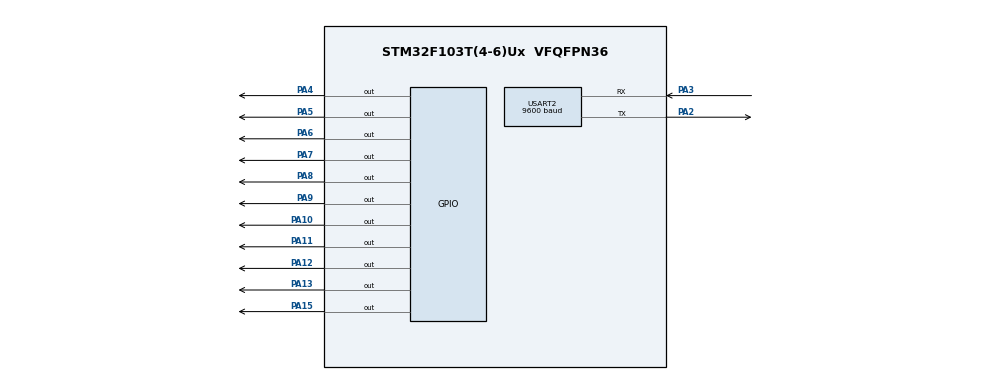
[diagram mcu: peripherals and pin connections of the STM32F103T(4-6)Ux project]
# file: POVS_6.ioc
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Mcu.Family=STM32F1
Mcu.Name=STM32F103T(4-6)Ux
Mcu.Package=VFQFPN36
NVIC.PriorityGroup=NVIC_PRIORITYGROUP_4
NVIC.TIM1_UP_IRQn=true\:0\:0\:false\:false\:true\:true\:true
NVIC.USART2_IRQn=true\:0\:0\:false\:false\:true\:true\:true
PA10.Signal=GPIO_Output
PA11.Signal=GPIO_Output
PA12.Signal=GPIO_Output
PA13.Signal=GPIO_Output
PA15.Signal=GPIO_Output
PA2.Mode=Asynchronous
PA2.Signal=USART2_TX
PA3.Mode=Asynchronous
PA3.Signal=USART2_RX
PA4.Signal=GPIO_Output
PA5.Signal=GPIO_Output
PA6.Signal=GPIO_Output
PA7.Signal=GPIO_Output
PA8.Signal=GPIO_Output
PA9.Signal=GPIO_Output
ProjectManager.HeapSize=0x200
ProjectManager.StackSize=0x400
ProjectManager.TargetToolchain=MDK-ARM V5
RCC.APB1Freq_Value=8000000
RCC.APB2Freq_Value=8000000
TIM1.Period=100
TIM1.Prescaler=7999
USART2.BaudRate=9600
USART2.VirtualMode=VM_ASYNC
VP_SYS_VS_ND.Mode=No_Debug
VP_TIM1_VS_ClockSourceINT.Mode=Internal
board=custom

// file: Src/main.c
/* USER CODE BEGIN Header */
/**
  ******************************************************************************
  * @file           : main.c
  * @brief          : Main program body
  ******************************************************************************
  * @attention
  *
  * <h2><center>&copy; Copyright (c) 2019 STMicroelectronics.
  * All rights reserved.</center></h2>
  *
  * This software component is licensed by ST under BSD 3-Clause license,
  * the "License"; You may not use this file except in compliance with the
  * License. You may obtain a copy of the License at:
  *                        opensource.org/licenses/BSD-3-Clause
  *
  ******************************************************************************
  */
/* USER CODE END Header */

#include "main.h"

/* USER CODE BEGIN Includes */
#include "stdio.h"
#include "stdlib.h"
#include "string.h"
#include "STM_MY_LCD16X2.h"
/* USER CODE END Includes */

/* USER CODE BEGIN PTD */
#ifdef __GNUC__
    #define PUTCHAR_PROTOTYPE int __io_putchar(int ch)
	#else
	  #define PUTCHAR_PROTOTYPE int fputc(int ch, FILE *f)
#endif
/* USER CODE END PTD */

TIM_HandleTypeDef htim1;

UART_HandleTypeDef huart2;

/* USER CODE BEGIN PV */
const int VK_ENTER_CODE = 13;
const int VK_BACKSPASE_CODE = 8;

char enteredCommand[32];
char status[6];
int charPosition = 0;

struct CommandEvent
{
	char command[32];
	void (*event) (void);
} commandEvents[5];
/* USER CODE END PV */

void SystemClock_Config(void);
static void MX_GPIO_Init(void);
static void MX_USART2_UART_Init(void);
static void MX_TIM1_Init(void);
/* USER CODE BEGIN PFP */
void TranslateCommand(void);
void ClearCommand(void);
void PA15_on(void);
void PA15_off(void);
void WriteCommandAndStatus(void);
/* USER CODE END PFP */

/* USER CODE BEGIN 0 */
void HAL_TIM_PeriodElapsedCallback(TIM_HandleTypeDef *htim)
{
  HAL_GPIO_TogglePin(GPIOA, GPIO_PIN_15);
}

void USART2_IRQHandler(void)
{
	char receivedSymbol;
  if((USART2->SR & USART_SR_RXNE) != 0)
  {
		receivedSymbol = USART2->DR;
		switch ((int)receivedSymbol)
		{
			case VK_ENTER_CODE:
				TranslateCommand();
				printf("%s\n\r", status);
				WriteCommandAndStatus();
				ClearCommand();
				break;
			case VK_BACKSPASE_CODE:
				if (charPosition > 0)
				{
					enteredCommand[--charPosition] = NULL;
				}
				break;
			default:
				enteredCommand[charPosition++] = receivedSymbol;
				break;
		}
	}
}

void ClearCommand(void)
{
	for (int i = 0; i < 32; i++)
	{
		enteredCommand[i] = NULL;
	}
	charPosition = 0;
}

void TranslateCommand(void)
{
	if (strcmp(enteredCommand, "") != 0)
	{
		for (int i = 0; i < 5; i++)
		{
			if (strcmp(enteredCommand, commandEvents[i].command) == 0)
			{
				commandEvents[i].event();
				strcpy(status, "OK");
				break; //if command is correct, then break from cycle
			}
			else
			{
				strcpy(status, "ERROR");
			}
		}
	}
	else
	{
		strcpy(status, "");
	}
}

void PA15_on(void)
{
	HAL_GPIO_WritePin(GPIOA, GPIO_PIN_15, GPIO_PIN_SET);
}

void PA15_off(void)
{
	HAL_GPIO_WritePin(GPIOA, GPIO_PIN_15, GPIO_PIN_RESET);
}

void PA15_blink_on(void)
{
	HAL_TIM_Base_Start(&htim1);
}

void PA15_blink_off(void)
{
	HAL_TIM_Base_Stop(&htim1);
}

void InitializeCommands(void)
{
	strcpy(commandEvents[0].command, "PA15_on");
	commandEvents[0].event = PA15_on;
	strcpy(commandEvents[1].command, "PA15_off");
	commandEvents[1].event = PA15_off;
	strcpy(commandEvents[2].command, "PA15_blink_on");
	commandEvents[2].event = PA15_blink_on;
	strcpy(commandEvents[3].command, "PA15_blink_off");
	commandEvents[3].event = PA15_blink_off;
}

void WriteCommandAndStatus(void)
{
	LCD1602_setCursor(1, 1);
	LCD1602_print("                ");
	LCD1602_setCursor(1, 1);
	LCD1602_print(enteredCommand);
	LCD1602_setCursor(2, 1);
	LCD1602_print("                ");
	LCD1602_setCursor(2, 1);
	LCD1602_print(status);
}
/* USER CODE END 0 */

int main(void)
{

  /* MCU Configuration--------------------------------------------------------*/

  /* Reset of all peripherals, Initializes the Flash interface and the Systick. */
  HAL_Init();

  /* Configure the system clock */
  SystemClock_Config();

  /* Initialize all configured peripherals */
  MX_GPIO_Init();
  MX_USART2_UART_Init();
  MX_TIM1_Init();
  /* USER CODE BEGIN 2 */
  NVIC_EnableIRQ(USART2_IRQn);
	USART2->CR1  |= USART_CR1_TCIE;
  USART2->CR1  |= USART_CR1_RXNEIE;

	HAL_TIM_Base_Start_IT(&htim1);
	HAL_TIM_Base_Stop(&htim1);

  LCD1602_Begin8BIT(GPIOA, GPIO_PIN_4, GPIO_PIN_5, GPIOA, GPIO_PIN_6, GPIO_PIN_7, GPIO_PIN_8, GPIO_PIN_9, GPIOA, GPIO_PIN_10, GPIO_PIN_11, GPIO_PIN_12, GPIO_PIN_13);
  InitializeCommands();
  /* USER CODE END 2 */

  /* Infinite loop */
  while (1)
  {

  }
}

void SystemClock_Config(void)
{
  RCC_OscInitTypeDef RCC_OscInitStruct = {0};
  RCC_ClkInitTypeDef RCC_ClkInitStruct = {0};

  /** Initializes the CPU, AHB and APB busses clocks
  */
  RCC_OscInitStruct.OscillatorType = RCC_OSCILLATORTYPE_HSI;
  RCC_OscInitStruct.HSIState = RCC_HSI_ON;
  RCC_OscInitStruct.HSICalibrationValue = RCC_HSICALIBRATION_DEFAULT;
  RCC_OscInitStruct.PLL.PLLState = RCC_PLL_NONE;
  if (HAL_RCC_OscConfig(&RCC_OscInitStruct) != HAL_OK)
  {
    Error_Handler();
  }
  /** Initializes the CPU, AHB and APB busses clocks
  */
  RCC_ClkInitStruct.ClockType = RCC_CLOCKTYPE_HCLK|RCC_CLOCKTYPE_SYSCLK
                              |RCC_CLOCKTYPE_PCLK1|RCC_CLOCKTYPE_PCLK2;
  RCC_ClkInitStruct.SYSCLKSource = RCC_SYSCLKSOURCE_HSI;
  RCC_ClkInitStruct.AHBCLKDivider = RCC_SYSCLK_DIV1;
  RCC_ClkInitStruct.APB1CLKDivider = RCC_HCLK_DIV1;
  RCC_ClkInitStruct.APB2CLKDivider = RCC_HCLK_DIV1;

  if (HAL_RCC_ClockConfig(&RCC_ClkInitStruct, FLASH_LATENCY_0) != HAL_OK)
  {
    Error_Handler();
  }
}

static void MX_TIM1_Init(void)
{

  TIM_ClockConfigTypeDef sClockSourceConfig = {0};
  TIM_MasterConfigTypeDef sMasterConfig = {0};

  htim1.Instance = TIM1;
  htim1.Init.Prescaler = 7999;
  htim1.Init.CounterMode = TIM_COUNTERMODE_UP;
  htim1.Init.Period = 100;
  htim1.Init.ClockDivision = TIM_CLOCKDIVISION_DIV1;
  htim1.Init.RepetitionCounter = 0;
  htim1.Init.AutoReloadPreload = TIM_AUTORELOAD_PRELOAD_DISABLE;
  if (HAL_TIM_Base_Init(&htim1) != HAL_OK)
  {
    Error_Handler();
  }
  sClockSourceConfig.ClockSource = TIM_CLOCKSOURCE_INTERNAL;
  if (HAL_TIM_ConfigClockSource(&htim1, &sClockSourceConfig) != HAL_OK)
  {
    Error_Handler();
  }
  sMasterConfig.MasterOutputTrigger = TIM_TRGO_RESET;
  sMasterConfig.MasterSlaveMode = TIM_MASTERSLAVEMODE_DISABLE;
  if (HAL_TIMEx_MasterConfigSynchronization(&htim1, &sMasterConfig) != HAL_OK)
  {
    Error_Handler();
  }

}

static void MX_USART2_UART_Init(void)
{

  huart2.Instance = USART2;
  huart2.Init.BaudRate = 9600;
  huart2.Init.WordLength = UART_WORDLENGTH_8B;
  huart2.Init.StopBits = UART_STOPBITS_1;
  huart2.Init.Parity = UART_PARITY_NONE;
  huart2.Init.Mode = UART_MODE_TX_RX;
  huart2.Init.HwFlowCtl = UART_HWCONTROL_NONE;
  huart2.Init.OverSampling = UART_OVERSAMPLING_16;
  if (HAL_UART_Init(&huart2) != HAL_OK)
  {
    Error_Handler();
  }

}

static void MX_GPIO_Init(void)
{
  GPIO_InitTypeDef GPIO_InitStruct = {0};

  /* GPIO Ports Clock Enable */
  __HAL_RCC_GPIOA_CLK_ENABLE();

  /*Configure GPIO pin Output Level */
  HAL_GPIO_WritePin(GPIOA, GPIO_PIN_4|GPIO_PIN_5|GPIO_PIN_6|GPIO_PIN_7
                          |GPIO_PIN_8|GPIO_PIN_9|GPIO_PIN_10|GPIO_PIN_11
                          |GPIO_PIN_12|GPIO_PIN_13, GPIO_PIN_RESET);

  /*Configure GPIO pins : PA4 PA5 PA6 PA7
                           PA8 PA9 PA10 PA11
                           PA12 PA13 */
  GPIO_InitStruct.Pin = GPIO_PIN_4|GPIO_PIN_5|GPIO_PIN_6|GPIO_PIN_7
                          |GPIO_PIN_8|GPIO_PIN_9|GPIO_PIN_10|GPIO_PIN_11
                          |GPIO_PIN_12|GPIO_PIN_13|GPIO_PIN_15;
  GPIO_InitStruct.Mode = GPIO_MODE_OUTPUT_PP;
  GPIO_InitStruct.Pull = GPIO_NOPULL;
  GPIO_InitStruct.Speed = GPIO_SPEED_FREQ_LOW;
  HAL_GPIO_Init(GPIOA, &GPIO_InitStruct);

}

/* USER CODE BEGIN 4 */
PUTCHAR_PROTOTYPE
{
	HAL_UART_Transmit(&huart2, (uint8_t *)&ch, 1, 0xFFFF);
	return ch;
}
/* USER CODE END 4 */

void Error_Handler(void)
{
}

/************************ (C) COPYRIGHT STMicroelectronics *****END OF FILE****/
